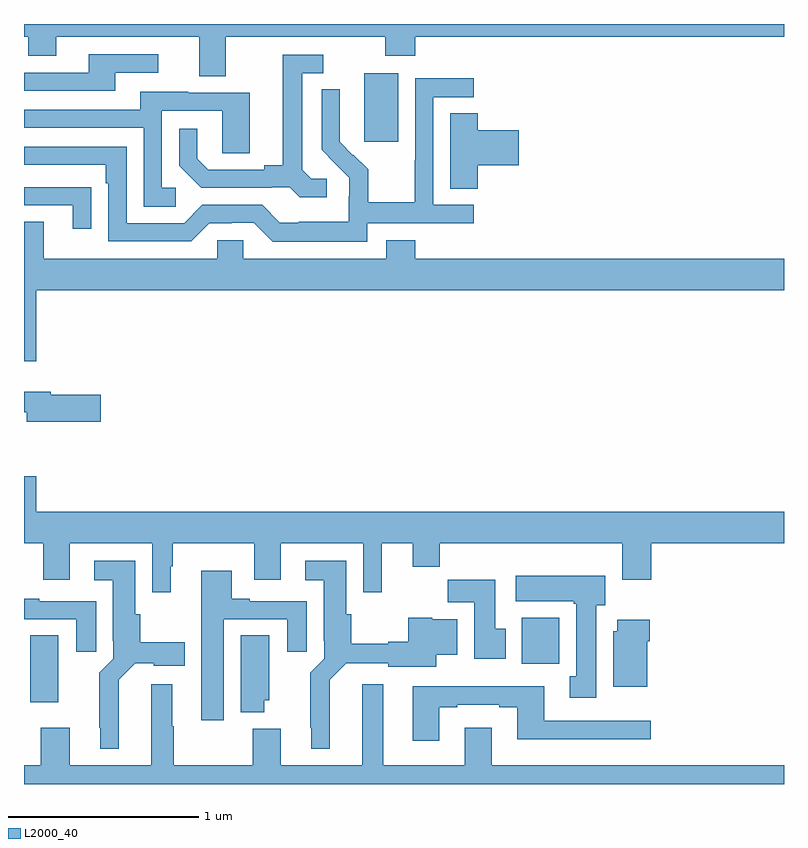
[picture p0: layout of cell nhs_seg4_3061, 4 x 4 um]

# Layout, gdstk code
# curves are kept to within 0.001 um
import gdstk
lib = gdstk.Library(unit=1e-6, precision=1e-09)
def R(c, l, rs):  # rectangles x0, y0, x1, y1
    for r in rs: c.add(gdstk.rectangle(r[:2], r[2:], *l))
def P(c, l, *ps):  # polygons
    for p in ps: c.add(gdstk.Polygon(p, *l))
L2000_40 = (2000, 40)

nhs_seg4_3061 = lib.new_cell('nhs_seg4_3061')
R(nhs_seg4_3061, L2000_40, [(273.032,781.329,273.181,781.682), (275.621,781.532,275.818,781.774), (274.79,784.281,274.969,784.642)])
P(nhs_seg4_3061, L2000_40, [(274.063,784.832),(274.9,784.832),(274.9,784.733),(275.06,784.733),(275.06,784.832),(277,784.832),(277,784.9),(273,784.9),(273,784.832),(273.022,784.832),(273.022,784.733),(273.169,784.733),(273.169,784.832),(273.923,784.832),(273.923,784.624),(274.063,784.624)],
  [(273.481,784.644),(273.706,784.644),(273.706,784.74),(273.341,784.74),(273.341,784.644),(273,784.644),(273,784.548),(273.481,784.548)],
  [(274.594,784.086),(274.512,784.086),(274.465,784.133),(274.465,784.641),(274.576,784.641),(274.576,784.737),(274.361,784.737),(274.361,784.157),(274.265,784.157),(274.265,784.134),(273.97,784.134),(273.913,784.191),(273.913,784.348),(273.816,784.348),(273.816,784.154),(273.932,784.038),(274.304,784.038),(274.304,784.041),(274.398,784.041),(274.45,783.989),(274.594,783.989)],
  [(274.806,783.852),(275.368,783.852),(275.368,783.948),(275.154,783.948),(275.154,784.515),(275.368,784.515),(275.368,784.614),(275.058,784.614),(275.058,784.184),(275.056,784.184),(275.056,783.961),(274.811,783.961),(274.811,784.135),(274.734,784.212),(274.731,784.209),(274.661,784.28),(274.662,784.556),(274.566,784.556),(274.566,784.238),(274.712,784.09),(274.712,783.993),(274.71,783.993),(274.71,783.859),(274.447,783.859),(274.447,783.855),(274.347,783.855),(274.254,783.948),(273.939,783.948),(273.843,783.852),(273.54,783.852),(273.54,784.254),(273,784.254),(273,784.158),(273.431,784.158),(273.431,784.061),(273.444,784.061),(273.444,783.756),(273.879,783.756),(273.975,783.852),(274.094,783.852),(274.094,783.855),(274.209,783.855),(274.309,783.755),(274.806,783.755)],
  [(273.799,784.038),(273.726,784.038),(273.726,784.443),(274.044,784.443),(274.044,784.219),(274.189,784.219),(274.189,784.539),(273.865,784.539),(273.865,784.543),(273.611,784.543),(273.611,784.449),(273,784.449),(273,784.353),(273.63,784.353),(273.63,783.937),(273.799,783.937)],
  [(275.387,784.157),(275.605,784.157),(275.605,784.34),(275.387,784.34),(275.387,784.43),(275.243,784.43),(275.243,784.033),(275.387,784.033)],
  [(273.353,784.04),(273.251,784.04),(273.251,784.041),(273,784.041),(273,783.945),(273.257,783.945),(273.257,783.822),(273.353,783.822)],
  [(273.064,783.5),(277,783.5),(277,783.664),(275.06,783.664),(275.06,783.763),(274.907,783.763),(274.907,783.664),(274.155,783.664),(274.155,783.762),(274.017,783.762),(274.017,783.664),(273.103,783.664),(273.103,783.859),(273,783.859),(273,783.126),(273.064,783.126)],
  [(273.403,782.948),(273.142,782.948),(273.142,782.965),(273,782.965),(273,782.856),(273.014,782.856),(273.014,782.806),(273.403,782.806)],
  [(273.772,782.046),(273.784,782.046),(273.784,782.168),(274.211,782.168),(274.211,781.974),(274.351,781.974),(274.351,782.168),(274.785,782.168),(274.785,781.908),(274.882,781.908),(274.882,782.168),(275.045,782.168),(275.045,782.044),(275.189,782.044),(275.189,782.168),(276.149,782.168),(276.149,781.974),(276.302,781.974),(276.302,782.168),(277,782.168),(277,782.332),(273.064,782.332),(273.064,782.521),(273,782.521),(273,782.168),(273.101,782.168),(273.101,781.974),(273.241,781.974),(273.241,782.168),(273.675,782.168),(273.675,781.908),(273.772,781.908)],
  [(273.499,781.448),(273.585,781.535),(273.684,781.535),(273.684,781.523),(273.847,781.523),(273.847,781.645),(273.612,781.645),(273.612,781.794),(273.586,781.794),(273.586,782.074),(273.369,782.074),(273.369,781.973),(273.467,781.973),(273.467,781.654),(273.471,781.654),(273.471,781.56),(273.397,781.486),(273.397,781.195),(273.401,781.195),(273.401,781.085),(273.499,781.085)],
  [(274.609,781.448),(274.696,781.536),(274.916,781.536),(274.916,781.516),(275.17,781.516),(275.17,781.58),(275.281,781.58),(275.281,781.768),(275.148,781.768),(275.148,781.774),(275.023,781.774),(275.023,781.649),(274.916,781.649),(274.916,781.637),(274.722,781.637),(274.722,781.794),(274.696,781.794),(274.696,782.074),(274.479,782.074),(274.479,781.973),(274.577,781.973),(274.577,781.654),(274.581,781.654),(274.581,781.56),(274.507,781.486),(274.507,781.195),(274.511,781.195),(274.511,781.085),(274.609,781.085)],
  [(274.051,781.767),(274.385,781.767),(274.385,781.596),(274.489,781.596),(274.489,781.863),(274.189,781.863),(274.189,781.876),(274.093,781.876),(274.093,782.023),(273.932,782.023),(273.932,781.236),(274.051,781.236)],
  [(276.013,781.842),(276.058,781.842),(276.058,781.996),(275.589,781.996),(275.589,781.862),(275.893,781.862),(275.893,781.849),(275.906,781.849),(275.906,781.466),(275.873,781.466),(275.873,781.353),(276.013,781.353)],
  [(275.536,781.716),(275.479,781.716),(275.479,781.975),(275.23,781.975),(275.23,781.856),(275.369,781.856),(275.369,781.56),(275.536,781.56)],
  [(273.379,781.863),(273.079,781.863),(273.079,781.876),(273,781.876),(273,781.767),(273.275,781.767),(273.275,781.596),(273.379,781.596)],
  [(276.28,781.652),(276.293,781.652),(276.293,781.765),(276.122,781.765),(276.122,781.704),(276.101,781.704),(276.101,781.412),(276.28,781.412)],
  [(274.264,781.341),(274.291,781.341),(274.291,781.682),(274.142,781.682),(274.142,781.277),(274.264,781.277)],
  [(277,781),(275.461,781),(275.461,781.195),(275.321,781.195),(275.321,781),(274.891,781),(274.891,781.426),(274.781,781.426),(274.781,781),(274.351,781),(274.351,781.192),(274.204,781.192),(274.204,781),(273.789,781),(273.789,781.205),(273.781,781.205),(273.781,781.426),(273.671,781.426),(273.671,781),(273.241,781),(273.241,781.195),(273.089,781.195),(273.089,781),(273,781),(273,780.9),(277,780.9)],
  [(275.185,781.305),(275.281,781.305),(275.281,781.317),(275.501,781.317),(275.501,781.305),(275.597,781.305),(275.597,781.136),(276.298,781.136),(276.298,781.233),(275.737,781.233),(275.737,781.414),(275.045,781.414),(275.045,781.128),(275.185,781.128)])

lib.write_gds('nhs_seg4_3061.gds')
